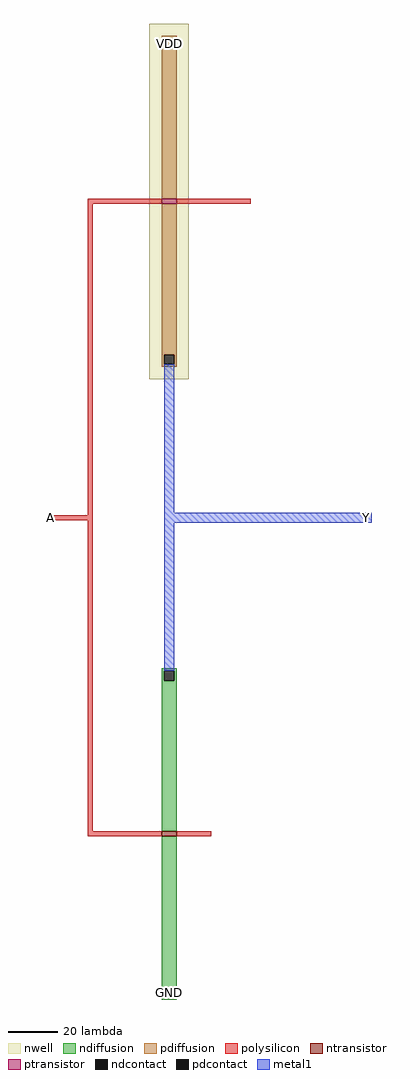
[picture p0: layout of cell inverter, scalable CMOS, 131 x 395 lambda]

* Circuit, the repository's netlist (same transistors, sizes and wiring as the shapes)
* Inverter schematic: the circuit the layout should implement.
* The p-transistor's body is tied to VDD and the n-transistor's to GND.
.subckt inverter VDD GND A Y
MP Y A VDD VDD pfet w=6u l=2u
MN Y A GND GND nfet w=6u l=2u
.ends

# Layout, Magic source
magic
tech scmos
<< nwell >>
rect 80 288 96 432
<< polysilicon >>
rect 55 359 85 361
rect 91 359 121 361
rect 55 233 57 359
rect 39 231 57 233
rect 55 105 57 231
rect 55 103 85 105
rect 91 103 105 105
<< ndiffusion >>
rect 85 170 91 171
rect 85 166 86 170
rect 90 166 91 170
rect 85 105 91 166
rect 85 37 91 103
<< pdiffusion >>
rect 85 361 91 427
rect 85 298 91 359
rect 85 294 86 298
rect 90 294 91 298
rect 85 293 91 294
<< ntransistor >>
rect 85 103 91 105
<< ptransistor >>
rect 85 359 91 361
<< ndcontact >>
rect 86 166 90 170
<< pdcontact >>
rect 86 294 90 298
<< metal1 >>
rect 86 234 90 294
rect 86 230 170 234
rect 86 170 90 230
<< labels >>
rlabel pdiffusion 85 421 91 427 0 VDD
rlabel ndiffusion 85 37 91 43 0 GND
rlabel polysilicon 39 231 41 233 0 A
rlabel metal1 166 230 170 234 0 Y
<< end >>
